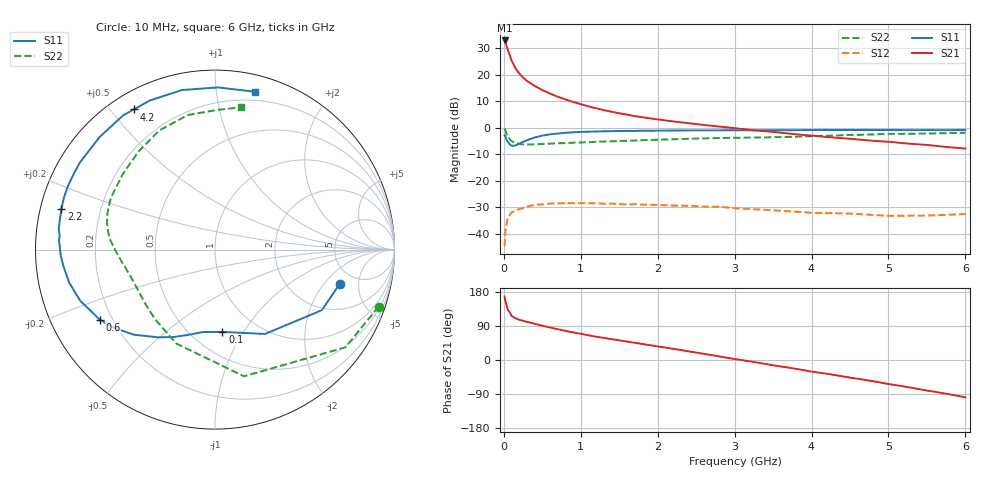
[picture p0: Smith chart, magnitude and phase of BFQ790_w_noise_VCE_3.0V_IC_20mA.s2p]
! Infineon Technologies  Discrete & RF Semiconductors
! BFQ790
! VCE =  3.0 V,  IC =  20 mA
! Common Emitter S-Parameters:  May 2015
# GHz  S  MA  R  50
!  f  S11  S21  S12  S22
! GHz  MAG  ANG  MAG  ANG  MAG  ANG  MAG  ANG
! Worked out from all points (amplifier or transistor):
!   77 points, 10 MHz to 6 GHz, reference 50 ohm
!   highest |S21| = 32.8 dB at 10 MHz (marker M1)
!   |S21| within 3 dB of that: start of sweep to 45.28 MHz
!   unconditionally stable (mu >= 1): 2.045 GHz to end of sweep
!   at 130 MHz: K = 0.66, MSG = 27.6 dB, |S12| = -31.5 dB
!   at 2.2 GHz: K = 1.03, MAG = 14.8 dB, |S12| = -29.3 dB
!   at 6 GHz: K = 2.62, MAG = 5.3 dB, |S12| = -32.5 dB
!   lowest NFmin = 2.10 dB at 900 MHz
!   S11 on the Smith chart (normalised r, x): 10 MHz: 3.74, -2.95; 100 MHz: 0.70, -0.81; 600 MHz: 0.15, -0.27; 2.2 GHz: 0.06, +0.13; 4.2 GHz: 0.07, +0.57; 6 GHz: 0.13, +1.28
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0.01  0.7213 -15.2  43.88 167.2  0.0059 74.0  0.9655 -19.2
0.02  0.6847 -29.5  41.19 155.4  0.011 63.5  0.9082 -36.8
0.05  0.5465 -59.3  29.59 132.2  0.02 43.3  0.7242 -77.1
0.1  0.4604 -84.8  18.34 116.3  0.0254 26.5  0.5659 -112.4
0.15  0.4643 -98.4  13.22 110.1  0.0276 24.2  0.5128 -130.1
0.2  0.5025 -108.4  10.51 106.2  0.0294 19.8  0.4941 -140.5
0.25  0.5415 -115.8  8.812 103.4  0.0307 16.7  0.4864 -147.1
0.3  0.581 -122.7  7.623 100.7  0.0326 14.7  0.4847 -151.8
0.4  0.6542 -133.5  6.117 95.5  0.0354 10.6  0.4879 -158.3
0.5  0.7098 -141.9  5.109 90.5  0.036 6.3  0.4938 -162.5
0.6  0.7514 -148.7  4.393 85.9  0.0373 2.6  0.5011 -165.7
0.7  0.7767 -154.7  3.831 81.2  0.0378 -0.8  0.5081 -168.3
0.8  0.8035 -159.3  3.413 77.0  0.0379 -4.7  0.515 -170.2
1.1  0.8412 -171.0  2.527 65.3  0.038 -12.5  0.5355 -175.4
1.5  0.8651 178.6  1.87 51.7  0.0365 -22.0  0.5604 179.1
2.1  0.8823 167.1  1.372 32.8  0.0347 -33.4  0.6001 171.3
2.2  0.8854 165.1  1.316 29.5  0.0343 -35.4  0.6068 169.7
3.1  0.8933 144.9  0.947 -0.5  0.03 -50.9  0.6487 150.8
4.1  0.9038 122.2  0.69 -33.4  0.0249 -61.2  0.6977 125.4
4.2  0.9025 120.1  0.669 -36.4  0.0247 -61.3  0.7043 122.7
5.1  0.9036 99.2  0.527 -66.5  0.022 -65.9  0.7648 98.8
6  0.9072 75.8  0.406 -98.6  0.0237 -70.5  0.8064 79.7
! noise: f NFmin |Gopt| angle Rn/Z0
0.45  2.24  0.33  90  0.34
0.9  2.1  0.48  148  0.15
1.5  2.45  0.66  178  0.07
1.8  2.81  0.7  -175  0.07
2.6  3.89  0.76  -156  0.23
3.5  4.75  0.88  -138  0.78
